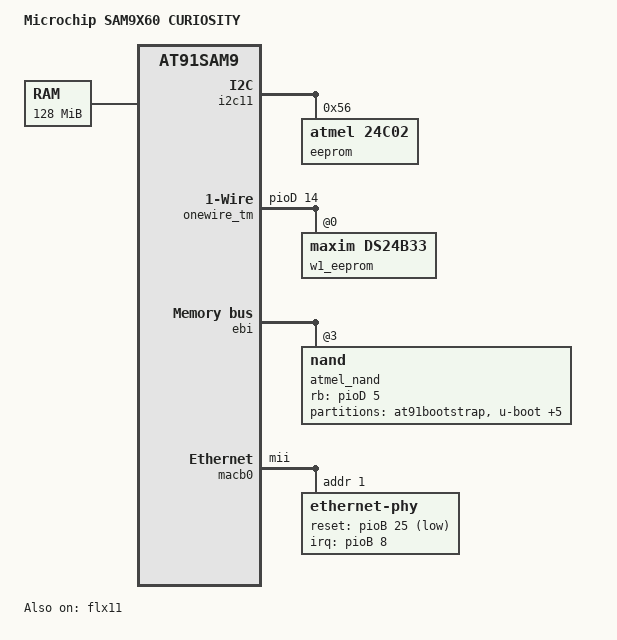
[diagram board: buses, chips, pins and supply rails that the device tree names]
// SPDX-License-Identifier: (GPL-2.0+ OR MIT)
/*
 * at91-sam9x60_curiosity.dts - Device Tree file for SAM9X60 CURIOSITY board
 *
 * Copyright (C) 2022 Microchip Technology Inc. and its subsidiaries
 *
 * Author: Durai Manickam KR <durai.manickamkr@microchip.com>
 */
/dts-v1/;
#include <dt-bindings/mfd/atmel-flexcom.h>
#include "sam9x60.dtsi"

/ {
	model = "Microchip SAM9X60 CURIOSITY";
	compatible = "microchip,sam9x60-curiosity", "microchip,sam9x60", "atmel,at91sam9";

	ahb {
		apb {
			flx11: flexcom@f0020000 {

				compatible = "atmel,sama5d2-flexcom";
				reg = <0xf0020000 0x200>;
				clocks = <&pmc PMC_TYPE_PERIPHERAL 32>;
				#address-cells = <1>;
				#size-cells = <1>;
				ranges = <0x0 0xf0020000 0x800>;
				atmel,flexcom-mode = <ATMEL_FLEXCOM_MODE_TWI>;
				status = "okay";

				i2c11: i2c@600 {
					compatible = "microchip,sam9x60-i2c";
					reg = <0x600 0x200>;
					interrupts = <32 IRQ_TYPE_LEVEL_HIGH 7>;
					clocks = <&pmc PMC_TYPE_PERIPHERAL 32>;
					#address-cells = <1>;
					#size-cells = <0>;
					pinctrl-names = "default";
					pinctrl-0 = <&pinctrl_i2c11_default>;
					i2c-analog-filter;
					i2c-digital-filter;
					i2c-digital-filter-width-ns = <35>;
					status = "okay";

					eeprom@56 {
						compatible = "atmel,24c02";
						reg = <0x56>;
						pagesize = <8>;
						status = "okay";
					};
				};
			};

			pinctrl {
				ebi {
					pinctrl_ebi_data_0_7: ebi-data-lsb-0 {
						atmel,pins =
							<AT91_PIOD 6 AT91_PERIPH_A (AT91_PINCTRL_NONE | AT91_PINCTRL_SLEWRATE_DIS)
							 AT91_PIOD 7 AT91_PERIPH_A (AT91_PINCTRL_NONE | AT91_PINCTRL_SLEWRATE_DIS)
							 AT91_PIOD 8 AT91_PERIPH_A (AT91_PINCTRL_NONE | AT91_PINCTRL_SLEWRATE_DIS)
							 AT91_PIOD 9 AT91_PERIPH_A (AT91_PINCTRL_NONE | AT91_PINCTRL_SLEWRATE_DIS)
							 AT91_PIOD 10 AT91_PERIPH_A (AT91_PINCTRL_NONE | AT91_PINCTRL_SLEWRATE_DIS)
							 AT91_PIOD 11 AT91_PERIPH_A (AT91_PINCTRL_NONE | AT91_PINCTRL_SLEWRATE_DIS)
							 AT91_PIOD 12 AT91_PERIPH_A (AT91_PINCTRL_NONE | AT91_PINCTRL_SLEWRATE_DIS)
							 AT91_PIOD 13 AT91_PERIPH_A (AT91_PINCTRL_NONE | AT91_PINCTRL_SLEWRATE_DIS)>;
					};

					pinctrl_ebi_addr_nand: ebi-addr-0 {
						atmel,pins =
							<AT91_PIOD 2 AT91_PERIPH_A (AT91_PINCTRL_NONE | AT91_PINCTRL_SLEWRATE_DIS)
							 AT91_PIOD 3 AT91_PERIPH_A (AT91_PINCTRL_NONE | AT91_PINCTRL_SLEWRATE_DIS)>;
					};
				};

				macb0 {
					pinctrl_macb0_mii: macb0_mii-0 {
						atmel,pins =
							<AT91_PIOB 0 AT91_PERIPH_A AT91_PINCTRL_NONE	/* PB0 periph A */
							 AT91_PIOB 1 AT91_PERIPH_A AT91_PINCTRL_NONE	/* PB1 periph A */
							 AT91_PIOB 2 AT91_PERIPH_A AT91_PINCTRL_NONE	/* PB2 periph A */
							 AT91_PIOB 3 AT91_PERIPH_A AT91_PINCTRL_NONE	/* PB3 periph A */
							 AT91_PIOB 4 AT91_PERIPH_A AT91_PINCTRL_NONE	/* PB4 periph A */
							 AT91_PIOB 5 AT91_PERIPH_A AT91_PINCTRL_NONE	/* PB5 periph A */
							 AT91_PIOB 6 AT91_PERIPH_A AT91_PINCTRL_NONE	/* PB6 periph A */
							 AT91_PIOB 7 AT91_PERIPH_A AT91_PINCTRL_NONE	/* PB7 periph A */
							 AT91_PIOB 8 AT91_PERIPH_GPIO AT91_PINCTRL_NONE	/* PB8 (GPIO USED FOR IRQ) */
							 AT91_PIOB 9 AT91_PERIPH_A AT91_PINCTRL_NONE	/* PB9 periph A */
							 AT91_PIOB 10 AT91_PERIPH_A AT91_PINCTRL_NONE	/* PB10 periph A */
							 AT91_PIOB 11 AT91_PERIPH_A AT91_PINCTRL_NONE	/* PB11 periph A */
							 AT91_PIOB 12 AT91_PERIPH_A AT91_PINCTRL_NONE	/* PB12 periph A */
							 AT91_PIOB 13 AT91_PERIPH_A AT91_PINCTRL_NONE	/* PB13 periph A */
							 AT91_PIOB 14 AT91_PERIPH_A AT91_PINCTRL_NONE	/* PB14 periph A */
							 AT91_PIOB 15 AT91_PERIPH_A AT91_PINCTRL_NONE>;	/* PB15 periph A */
					};

					pinctrl_macb0_rst: macb0_rst {
						atmel,pins =
							<AT91_PIOB 25 AT91_PERIPH_GPIO (AT91_PINCTRL_OUTPUT | AT91_PINCTRL_OUTPUT_VAL(1))>;
					};
				};

				nand {
					pinctrl_nand_oe_we: nand-oe-we-0 {
						atmel,pins =
							<AT91_PIOD 0 AT91_PERIPH_A (AT91_PINCTRL_NONE | AT91_PINCTRL_SLEWRATE_DIS)
							 AT91_PIOD 1 AT91_PERIPH_A (AT91_PINCTRL_NONE | AT91_PINCTRL_SLEWRATE_DIS)>;
					};

					pinctrl_nand_rb: nand-rb-0 {
						atmel,pins =
							<AT91_PIOD 5 AT91_PERIPH_GPIO AT91_PINCTRL_PULL_UP>;
					};

					pinctrl_nand_cs: nand-cs-0 {
						atmel,pins =
							<AT91_PIOD 4 AT91_PERIPH_GPIO AT91_PINCTRL_PULL_UP>;
					};
				};

					pinctrl_i2c11_default: pinctrl_i2c11 {
						atmel,pins =
							<AT91_PIOB 19 AT91_PERIPH_C AT91_PINCTRL_NONE
							 AT91_PIOB 20 AT91_PERIPH_C AT91_PINCTRL_NONE>;
					};

					pinctrl_onewire_tm_default: onewire_tm_default {
						atmel,pins =
							<AT91_PIOD 14 AT91_PERIPH_GPIO AT91_PINCTRL_PULL_UP>;
					};
			};
		};
	};

	chosen {
		stdout-path = &dbgu;
		i2c0 = &flx11;
	};

	clocks {
		slow_xtal: slow_xtal {
			clock-frequency = <32768>;
		};

		main_xtal: main_xtal {
			clock-frequency = <24000000>;
		};
	};

	memory {
		reg = <0x20000000 0x8000000>;
	};

	onewire_tm: onewire {
		gpios = <&pioD 14 GPIO_ACTIVE_HIGH>;
		pinctrl-names = "default";
		pinctrl-0 = <&pinctrl_onewire_tm_default>;
		status = "okay";

		w1_eeprom: w1_eeprom@0 {
			compatible = "maxim,ds24b33";
			status = "okay";
		};
	};
};

&ebi {
	pinctrl-names = "default";
	pinctrl-0 = <&pinctrl_ebi_addr_nand &pinctrl_ebi_data_0_7>;
	status = "okay";

	nand_controller: nand-controller {
		pinctrl-names = "default";
		pinctrl-0 = <&pinctrl_nand_oe_we &pinctrl_nand_cs &pinctrl_nand_rb>;
		status = "okay";

		nand@3 {
			reg = <0x3 0x0 0x800000>;
			atmel,rb = <0>;
			rb-gpios = <&pioD 5 GPIO_ACTIVE_HIGH>;
			cs-gpios = <&pioD 4 GPIO_ACTIVE_HIGH>;
			nand-bus-width = <8>;
			nand-ecc-mode = "hw";
			nand-ecc-strength = <8>;
			nand-ecc-step-size = <512>;
			nand-on-flash-bbt;
			label = "atmel_nand";

			partitions {
				compatible = "fixed-partitions";
				#address-cells = <1>;
				#size-cells = <1>;

				at91bootstrap@0 {
					label = "at91bootstrap";
					reg = <0x0 0x40000>;
				};

				uboot@40000 {
					label = "u-boot";
					reg = <0x40000 0xc0000>;
				};

				ubootenvred@100000 {
					label = "U-Boot Env Redundant";
					reg = <0x100000 0x40000>;
				};

				ubootenv@140000 {
					label = "U-Boot Env";
					reg = <0x140000 0x40000>;
				};

				dtb@180000 {
					label = "device tree";
					reg = <0x180000 0x80000>;
				};

				kernel@200000 {
					label = "kernel";
					reg = <0x200000 0x600000>;
				};

				rootfs@800000 {
					label = "rootfs";
					reg = <0x800000 0x1f800000>;
				};
			};
		};
	};
};

&macb0 {
	phy-mode = "mii";
	#address-cells = <1>;
	#size-cells = <0>;
	pinctrl-names = "default";
	pinctrl-0 = <&pinctrl_macb0_mii &pinctrl_macb0_rst>;
	status = "okay";
	ethernet-phy@1 {
		reg = <0x1>;
		interrupt-parent = <&pioB>;
		interrupts = <8 IRQ_TYPE_LEVEL_LOW>;
		reset-gpios = <&pioB 25 GPIO_ACTIVE_LOW>;
		phy-mode = "mii";
	};
};
